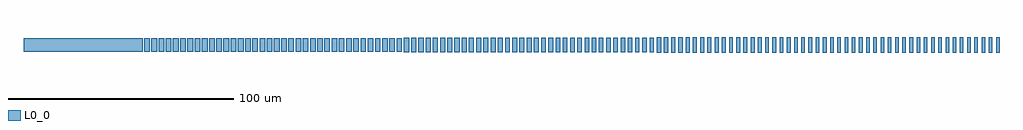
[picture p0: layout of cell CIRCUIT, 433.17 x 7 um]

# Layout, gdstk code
import gdstk
lib = gdstk.Library(unit=1e-6, precision=1e-09)
def R(c, l, rs):  # rectangles x0, y0, x1, y1
    for r in rs: c.add(gdstk.rectangle(r[:2], r[2:], *l))
def A(c, l, x, y, w, h, nx, ny, dx, dy):  # array of equal rectangles
    R(c, l, [(x+i*dx, y+j*dy, x+i*dx+w, y+j*dy+h) for i in range(nx) for j in range(ny)])
L0_0 = (0, 0)

circuit = lib.new_cell('CIRCUIT')
A(circuit, L0_0, 425.232, -3.5, 1.536, 7, 3, 1, 3.2, 0)
A(circuit, L0_0, 50.32, -3, 2.56, 6, 3, 1, 3.2, 0)
R(circuit, L0_0, [(418.831,-3.499,420.369,3.499), (422.031,-3.499,423.569,3.499), (415.63,-3.498,417.17,3.498), (412.429,-3.497,413.971,3.497), (409.228,-3.496,410.772,3.496), (406.026,-3.494,407.574,3.494), (402.825,-3.493,404.375,3.493), (399.623,-3.491,401.177,3.491), (396.421,-3.49,397.979,3.49), (393.219,-3.488,394.781,3.488), (390.017,-3.485,391.583,3.485), (386.815,-3.483,388.385,3.483), (383.612,-3.481,385.188,3.481), (380.409,-3.478,381.991,3.478), (377.207,-3.475,378.793,3.475), (374.004,-3.472,375.596,3.472), (370.8,-3.469,372.4,3.469), (367.597,-3.466,369.203,3.466), (364.394,-3.463,366.006,3.463), (361.19,-3.459,362.81,3.459), (357.986,-3.455,359.614,3.455), (354.782,-3.451,356.418,3.451), (351.578,-3.447,353.222,3.447), (348.374,-3.443,350.026,3.443), (345.17,-3.439,346.83,3.439), (341.965,-3.435,343.635,3.435), (338.761,-3.43,340.439,3.43), (335.556,-3.426,337.244,3.426), (332.351,-3.421,334.049,3.421), (329.146,-3.416,330.854,3.416), (325.941,-3.411,327.659,3.411), (322.736,-3.406,324.464,3.406), (319.53,-3.401,321.27,3.401), (316.325,-3.395,318.075,3.395), (313.119,-3.39,314.881,3.39), (309.914,-3.384,311.686,3.384), (306.708,-3.379,308.492,3.379), (303.502,-3.373,305.298,3.373), (300.296,-3.367,302.104,3.367), (297.09,-3.361,298.91,3.361), (293.884,-3.355,295.716,3.355), (290.678,-3.349,292.522,3.349), (287.472,-3.343,289.328,3.343), (284.265,-3.337,286.135,3.337), (281.059,-3.331,282.941,3.331), (277.853,-3.325,279.747,3.325), (274.646,-3.318,276.554,3.318), (271.44,-3.312,273.36,3.312), (268.233,-3.306,270.167,3.306), (265.026,-3.299,266.974,3.299), (261.82,-3.293,263.78,3.293), (258.613,-3.286,260.587,3.286), (255.406,-3.28,257.394,3.28), (252.2,-3.273,254.2,3.273), (248.993,-3.266,251.007,3.266), (245.786,-3.26,247.814,3.26), (242.579,-3.253,244.621,3.253), (239.373,-3.247,241.427,3.247), (236.166,-3.24,238.234,3.24), (232.959,-3.234,235.041,3.234), (229.752,-3.227,231.848,3.227), (226.546,-3.22,228.654,3.22), (223.339,-3.214,225.461,3.214), (220.132,-3.207,222.268,3.207), (216.926,-3.201,219.074,3.201), (213.719,-3.194,215.881,3.194), (210.512,-3.188,212.688,3.188), (207.306,-3.182,209.494,3.182), (204.099,-3.175,206.301,3.175), (200.893,-3.169,203.107,3.169), (197.687,-3.163,199.913,3.163), (194.48,-3.157,196.72,3.157), (191.274,-3.151,193.526,3.151), (188.068,-3.145,190.332,3.145), (184.862,-3.139,187.138,3.139), (181.656,-3.133,183.944,3.133), (178.45,-3.127,180.75,3.127), (175.244,-3.121,177.556,3.121), (172.038,-3.116,174.362,3.116), (168.833,-3.11,171.167,3.11), (165.627,-3.105,167.973,3.105), (162.422,-3.099,164.778,3.099), (159.216,-3.094,161.584,3.094), (156.011,-3.089,158.389,3.089), (152.806,-3.084,155.194,3.084), (149.601,-3.079,151.999,3.079), (146.396,-3.074,148.804,3.074), (143.191,-3.07,145.609,3.07), (139.987,-3.065,142.413,3.065), (136.782,-3.061,139.218,3.061), (133.578,-3.057,136.022,3.057), (130.374,-3.053,132.826,3.053), (127.17,-3.049,129.63,3.049), (123.966,-3.045,126.434,3.045), (120.762,-3.041,123.238,3.041), (117.558,-3.037,120.042,3.037), (114.355,-3.034,116.845,3.034), (111.152,-3.031,113.648,3.031), (107.948,-3.028,110.452,3.028), (104.745,-3.025,107.255,3.025), (101.543,-3.022,104.057,3.022), (98.34,-3.019,100.86,3.019), (95.137,-3.017,97.663,3.017), (91.935,-3.015,94.465,3.015), (88.733,-3.012,91.267,3.012), (85.531,-3.01,88.069,3.01), (82.329,-3.009,84.871,3.009), (79.127,-3.007,81.673,3.007), (75.926,-3.006,78.474,3.006), (72.724,-3.004,75.276,3.004), (69.523,-3.003,72.077,3.003), (66.322,-3.002,68.878,3.002), (59.921,-3.001,62.479,3.001), (63.121,-3.001,65.679,3.001), (0,-3,50,3)])

lib.write_gds('CIRCUIT.gds')
